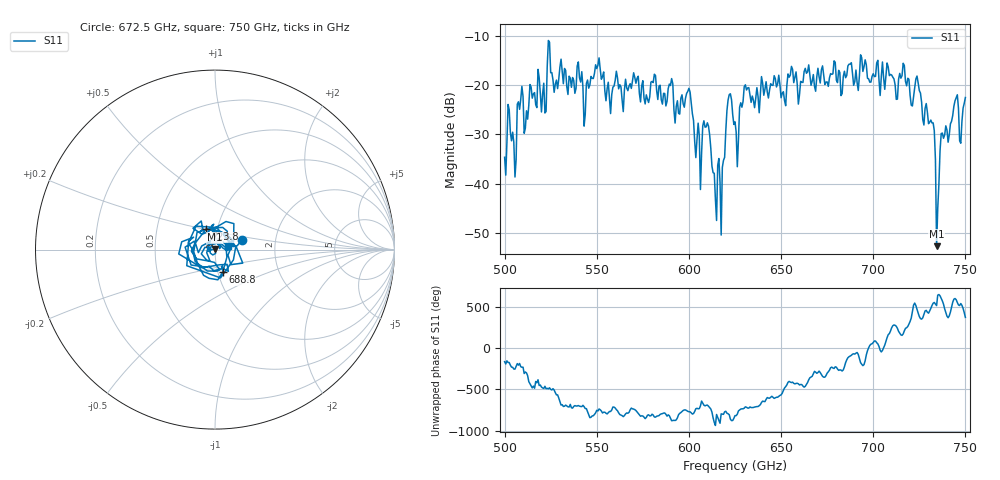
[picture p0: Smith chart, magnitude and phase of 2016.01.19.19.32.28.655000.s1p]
!Created with skrf (http://scikit-rf.org).
# GHz S RI R 50.0
!freq ReS11 ImS11
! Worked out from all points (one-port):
!   401 points, 500 GHz to 750 GHz, reference 50 ohm
!   lowest |S11| = -52.7 dB at 734.4 GHz (marker M1), VSWR 1.00, Z = 49.8 + j0.0802 ohm
!   |S11| at or under -10 dB: start of sweep to end of sweep
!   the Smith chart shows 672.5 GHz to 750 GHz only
!   S11 on the Smith chart (normalised r, x): 672.5 GHz: 1.34, +0.15; 688.8 GHz: 1.06, -0.27; 723.8 GHz: 0.88, +0.20; 750 GHz: 1.15, +0.05
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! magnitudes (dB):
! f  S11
! 500 GHz  -34.7
! 503.1 GHz  -29.6
! 505 GHz  -31.7
! 508.1 GHz  -24.9
! 511.9 GHz  -25.2
! 521.2 GHz  -19.6
! 524.4 GHz  -11.3
! 531.2 GHz  -17.2
! 562.5 GHz  -19.9
! 590 GHz  -20.1
! 593.8 GHz  -23.2
! 600 GHz  -20.6
! 605 GHz  -27.7
! 609.4 GHz  -28.5
! 616.2 GHz  -34.9
! 621.9 GHz  -21.9
! 625 GHz  -27.4
! 631.2 GHz  -21.0
! 656.2 GHz  -16.8
! 672.5 GHz  -16.1
! 687.5 GHz  -15.7
! 688.8 GHz  -17.6
! 718.8 GHz  -18.6
! 723.8 GHz  -18.1
! 731.9 GHz  -27.7
! 734.4 GHz  -52.7
! 738.1 GHz  -30.8
! 750 GHz  -22.5
